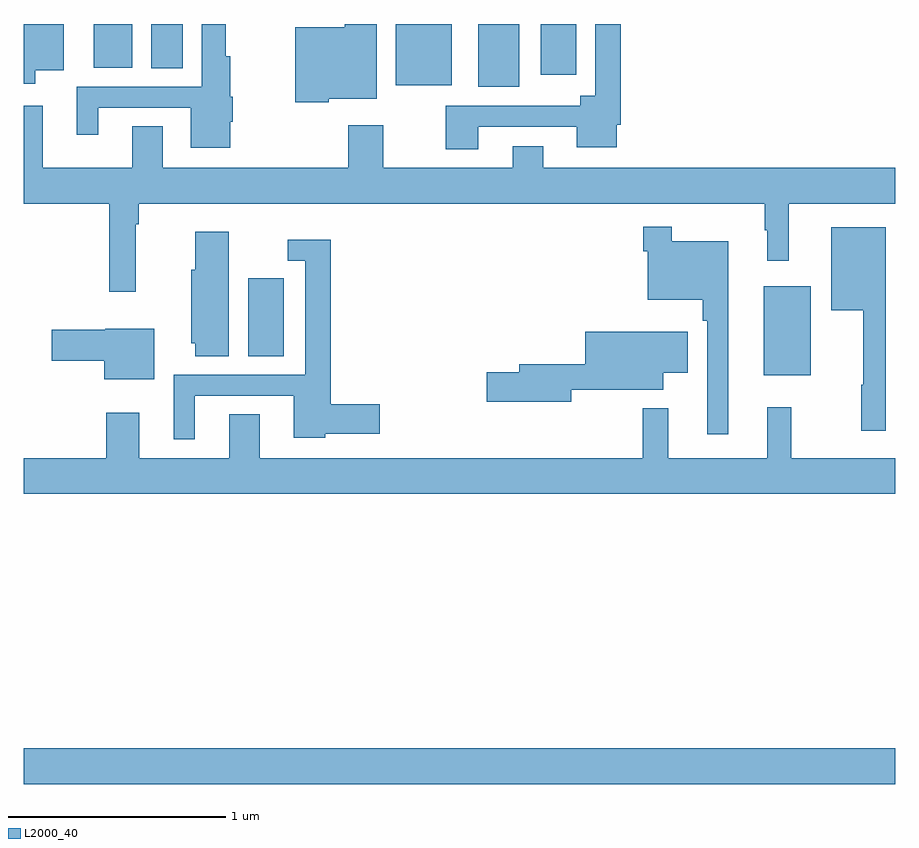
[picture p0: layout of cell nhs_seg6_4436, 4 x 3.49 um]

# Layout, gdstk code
import gdstk
lib = gdstk.Library(unit=1e-6, precision=1e-09)
def R(c, l, rs):  # rectangles x0, y0, x1, y1
    for r in rs: c.add(gdstk.rectangle(r[:2], r[2:], *l))
def P(c, l, *ps):  # polygons
    for p in ps: c.add(gdstk.Polygon(p, *l))
L2000_40 = (2000, 40)

nhs_seg6_4436 = lib.new_cell('nhs_seg6_4436')
R(nhs_seg6_4436, L2000_40, [(373,938.012,377,938.176), (376.397,939.887,376.612,940.297), (374.03,939.976,374.194,940.333), (375.086,941.213,375.274,941.5), (374.708,941.219,374.965,941.5), (375.374,941.268,375.535,941.5), (373.586,941.296,373.729,941.5), (373.322,941.3,373.498,941.5)])
P(nhs_seg6_4436, L2000_40, [(373.054,941.288),(373.183,941.288),(373.183,941.5),(373,941.5),(373,941.226),(373.054,941.226)],
  [(375.085,941.028),(375.539,941.028),(375.539,940.934),(375.721,940.934),(375.721,941.038),(375.74,941.038),(375.74,941.5),(375.624,941.5),(375.624,941.17),(375.554,941.17),(375.554,941.124),(374.938,941.124),(374.938,940.926),(375.085,940.926)],
  [(374.4,941.156),(374.62,941.156),(374.62,941.5),(374.474,941.5),(374.474,941.485),(374.246,941.485),(374.246,941.141),(374.4,941.141)],
  [(373.948,941.052),(373.96,941.052),(373.96,941.166),(373.948,941.166),(373.948,941.353),(373.927,941.353),(373.927,941.5),(373.818,941.5),(373.818,941.211),(373.244,941.211),(373.244,940.992),(373.342,940.992),(373.342,941.115),(373.766,941.115),(373.766,940.931),(373.948,940.931)],
  [(373.514,940.58),(373.529,940.58),(373.529,940.676),(376.401,940.676),(376.401,940.553),(376.412,940.553),(376.412,940.413),(376.511,940.413),(376.511,940.676),(377,940.676),(377,940.84),(375.385,940.84),(375.385,940.939),(375.245,940.939),(375.245,940.84),(374.649,940.84),(374.649,941.035),(374.489,941.035),(374.489,940.84),(373.639,940.84),(373.639,941.03),(373.499,941.03),(373.499,940.84),(373.087,940.84),(373.087,941.125),(373,941.125),(373,940.676),(373.393,940.676),(373.393,940.272),(373.514,940.272)],
  [(376.234,940.504),(375.973,940.504),(375.973,940.57),(375.844,940.57),(375.844,940.457),(375.864,940.457),(375.864,940.235),(376.117,940.235),(376.117,940.139),(376.137,940.139),(376.137,939.618),(376.234,939.618)],
  [(376.957,940.567),(376.706,940.567),(376.706,940.187),(376.853,940.187),(376.853,939.845),(376.843,939.845),(376.843,939.633),(376.957,939.633)],
  [(373.942,940.546),(373.787,940.546),(373.787,940.371),(373.769,940.371),(373.769,940.035),(373.787,940.035),(373.787,939.976),(373.942,939.976)],
  [(373.786,939.795),(374.24,939.795),(374.24,939.602),(374.385,939.602),(374.385,939.62),(374.635,939.62),(374.635,939.755),(374.408,939.755),(374.408,940.51),(374.211,940.51),(374.211,940.413),(374.292,940.413),(374.292,939.891),(373.688,939.891),(373.688,939.594),(373.786,939.594)],
  [(373.6,940.102),(373.374,940.102),(373.374,940.097),(373.128,940.097),(373.128,939.955),(373.37,939.955),(373.37,939.869),(373.6,939.869)],
  [(375.514,939.821),(375.934,939.821),(375.934,939.899),(376.048,939.899),(376.048,940.087),(375.578,940.087),(375.578,939.938),(375.275,939.938),(375.275,939.902),(375.126,939.902),(375.126,939.767),(375.514,939.767)],
  [(377,939.508),(376.522,939.508),(376.522,939.742),(376.412,939.742),(376.412,939.508),(375.959,939.508),(375.959,939.736),(375.841,939.736),(375.841,939.508),(374.083,939.508),(374.083,939.71),(373.943,939.71),(373.943,939.508),(373.531,939.508),(373.531,939.715),(373.379,939.715),(373.379,939.508),(373,939.508),(373,939.344),(377,939.344)])

lib.write_gds('nhs_seg6_4436.gds')
